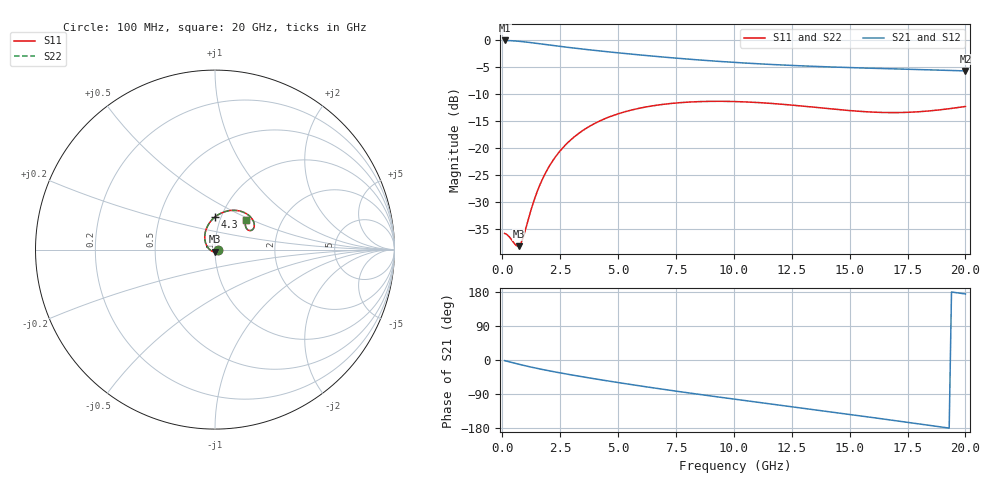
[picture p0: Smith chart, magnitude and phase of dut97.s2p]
! Created with skrf 1.9.0 (http://scikit-rf.org).
# GHz S RI R 50.0
!freq ReS11 ImS11 ReS21 ImS21 ReS12 ImS12 ReS22 ImS22
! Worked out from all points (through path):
!   200 points, 100 MHz to 20 GHz, reference 50 ohm
!   highest |S21| = -0.15 dB at 100 MHz (marker M1); lowest = -5.8 dB at 20 GHz (marker M2)
!   group delay of S21, straight-line fit = 24.3 ps
!   lowest |S11| = -38.2 dB at 700 MHz (marker M3), VSWR 1.02, Z = 49.9 - j1.22 ohm
!   |S11| at or under -10 dB: start of sweep to end of sweep
!   |S22| runs from -38.2 to -11.4 dB; largest |S21 - S12| = 2.2e-15
!   S11 on the Smith chart (normalised r, x): 100 MHz: 1.03, -0.00; 4.3 GHz: 0.93, +0.35; 20 GHz: 1.33, +0.47
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0.1  0.0159 -0.00232  0.9829 -0.0278  0.9829 -0.0278  0.0159 -0.00232
0.3  0.0132 -0.0072  0.9768 -0.082  0.9768 -0.082  0.0132 -0.0072
0.6  0.00383 -0.0118  0.9577 -0.1595  0.9577 -0.1595  0.00383 -0.0118
0.7  -0.000355 -0.0123  0.9491 -0.1838  0.9491 -0.1838  -0.000355 -0.0123
0.8  -0.0049 -0.012  0.9396 -0.2073  0.9396 -0.2073  -0.0049 -0.012
0.9  -0.00969 -0.0111  0.9293 -0.23  0.9293 -0.23  -0.00969 -0.0111
1.3  -0.0292 -0.000422  0.8819 -0.3118  0.8819 -0.3118  -0.0292 -0.000422
1.5  -0.0379 0.00865  0.8558 -0.3474  0.8558 -0.3474  -0.0379 0.00865
1.9  -0.0509 0.0322  0.8013 -0.4097  0.8013 -0.4097  -0.0509 0.0322
2.2  -0.056 0.0527  0.7596 -0.4496  0.7596 -0.4496  -0.056 0.0527
2.6  -0.0566 0.0813  0.7041 -0.4954  0.7041 -0.4954  -0.0566 0.0813
3.5  -0.036 0.1409  0.5808 -0.5746  0.5808 -0.5746  -0.036 0.1409
4.3  -0.00163 0.1804  0.474 -0.6229  0.474 -0.6229  -0.00163 0.1804
5.4  0.0546 0.2112  0.3331 -0.6617  0.3331 -0.6617  0.0546 0.2112
6.8  0.1222 0.2177  0.1678 -0.6742  0.1678 -0.6742  0.1222 0.2177
8.3  0.1763 0.1993  0.0114 -0.6536  0.0114 -0.6536  0.1763 0.1993
10.1  0.2114 0.1634  -0.1482 -0.5965  -0.1482 -0.5965  0.2114 0.1634
13.4  0.2099 0.1117  -0.3693 -0.4301  -0.3693 -0.4301  0.2099 0.1117
15.1  0.1924 0.1062  -0.4483 -0.3198  -0.4483 -0.3198  0.1924 0.1062
16.7  0.1767 0.116  -0.498 -0.2038  -0.498 -0.2038  0.1767 0.116
18.4  0.169 0.1388  -0.5208 -0.0726  -0.5208 -0.0726  0.169 0.1388
20  0.175 0.1653  -0.5115 0.0512  -0.5115 0.0512  0.175 0.1653
